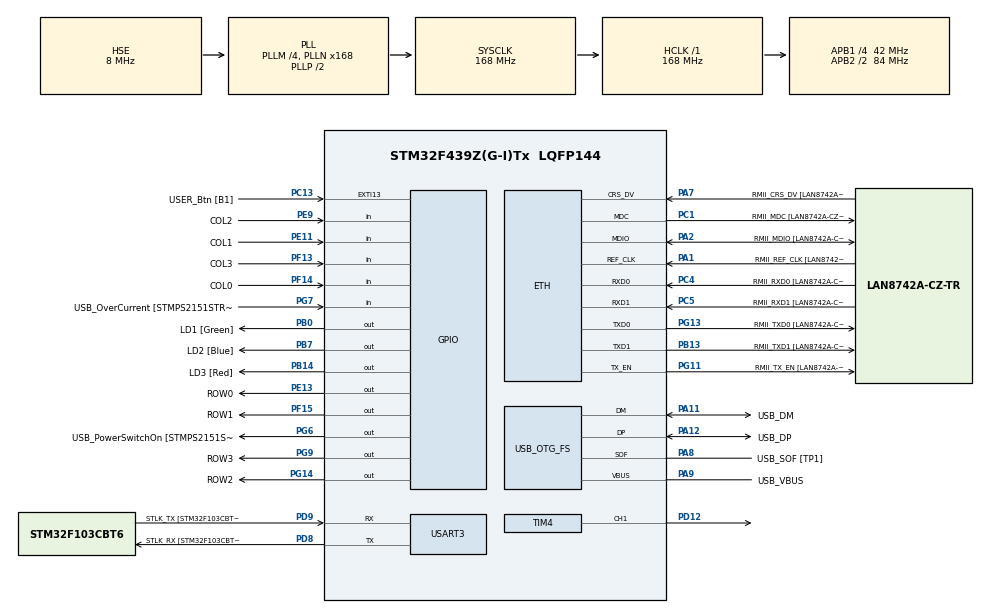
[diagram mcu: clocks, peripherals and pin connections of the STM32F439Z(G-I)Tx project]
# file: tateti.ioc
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Dma.Request0=TIM4_CH1
Dma.TIM4_CH1.0.Direction=DMA_MEMORY_TO_PERIPH
Dma.TIM4_CH1.0.FIFOMode=DMA_FIFOMODE_DISABLE
Dma.TIM4_CH1.0.Instance=DMA1_Stream0
Dma.TIM4_CH1.0.MemDataAlignment=DMA_MDATAALIGN_HALFWORD
Dma.TIM4_CH1.0.MemInc=DMA_MINC_ENABLE
Dma.TIM4_CH1.0.Mode=DMA_NORMAL
Dma.TIM4_CH1.0.PeriphDataAlignment=DMA_PDATAALIGN_HALFWORD
Dma.TIM4_CH1.0.PeriphInc=DMA_PINC_DISABLE
Dma.TIM4_CH1.0.Priority=DMA_PRIORITY_LOW
ETH.MediaInterface=HAL_ETH_RMII_MODE
ETH.PHY_Name=LAN8742A_PHY_ADDRESS
ETH.PHY_Value=0
ETH.PhyAddress=0
Mcu.Family=STM32F4
Mcu.Name=STM32F439Z(G-I)Tx
Mcu.Package=LQFP144
NVIC.DMA1_Stream0_IRQn=true\:0\:0\:false\:false\:true\:false\:true\:true
NVIC.PriorityGroup=NVIC_PRIORITYGROUP_4
NVIC.TIM6_DAC_IRQn=true\:0\:0\:false\:false\:true\:true\:true\:true
PA0/WKUP.Signal=S_TIM2_CH1_ETR
PA1.GPIO_Label=RMII_REF_CLK [LAN8742A-CZ-TR_REFCLK0]
PA1.Mode=RMII
PA1.Signal=ETH_REF_CLK
PA10.GPIO_Label=USB_ID
PA10.Signal=USB_OTG_FS_ID
PA11.GPIO_Label=USB_DM
PA11.Mode=Device_Only
PA11.Signal=USB_OTG_FS_DM
PA12.GPIO_Label=USB_DP
PA12.Mode=Device_Only
PA12.Signal=USB_OTG_FS_DP
PA13.GPIO_Label=TMS
PA13.Mode=Serial_Wire
PA13.Signal=SYS_JTMS-SWDIO
PA14.GPIO_Label=TCK
PA14.Mode=Serial_Wire
PA14.Signal=SYS_JTCK-SWCLK
PA2.GPIO_Label=RMII_MDIO [LAN8742A-CZ-TR_MDIO]
PA2.Mode=RMII
PA2.Signal=ETH_MDIO
PA7.GPIO_Label=RMII_CRS_DV [LAN8742A-CZ-TR_CRS_DV]
PA7.Mode=RMII
PA7.Signal=ETH_CRS_DV
PA8.GPIO_Label=USB_SOF [TP1]
PA8.Mode=Activate_SOF_FS
PA8.Signal=USB_OTG_FS_SOF
PA9.GPIO_Label=USB_VBUS
PA9.Mode=Activate_VBUS
PA9.Signal=USB_OTG_FS_VBUS
PB0.GPIO_Label=LD1 [Green]
PB0.Signal=GPIO_Output
PB13.GPIO_Label=RMII_TXD1 [LAN8742A-CZ-TR_TXD1]
PB13.Mode=RMII
PB13.Signal=ETH_TXD1
PB14.GPIO_Label=LD3 [Red]
PB14.Signal=GPIO_Output
PB7.GPIO_Label=LD2 [Blue]
PB7.Signal=GPIO_Output
PC1.GPIO_Label=RMII_MDC [LAN8742A-CZ-TR_MDC]
PC1.Mode=RMII
PC1.Signal=ETH_MDC
PC13.GPIO_Label=USER_Btn [B1]
PC13.Signal=GPXTI13
PC14/OSC32_IN.Mode=LSE-External-Oscillator
PC14/OSC32_IN.Signal=RCC_OSC32_IN
PC15/OSC32_OUT.Mode=LSE-External-Oscillator
PC15/OSC32_OUT.Signal=RCC_OSC32_OUT
PC4.GPIO_Label=RMII_RXD0 [LAN8742A-CZ-TR_RXD0]
PC4.Mode=RMII
PC4.Signal=ETH_RXD0
PC5.GPIO_Label=RMII_RXD1 [LAN8742A-CZ-TR_RXD1]
PC5.Mode=RMII
PC5.Signal=ETH_RXD1
PD12.GPIO_Speed=GPIO_SPEED_FREQ_VERY_HIGH
PD12.Signal=S_TIM4_CH1
PD8.GPIO_Label=STLK_RX [STM32F103CBT6_PA3]
PD8.Mode=Asynchronous
PD8.Signal=USART3_TX
PD9.GPIO_Label=STLK_TX [STM32F103CBT6_PA2]
PD9.Mode=Asynchronous
PD9.Signal=USART3_RX
PE11.GPIO_Label=COL1
PE11.Signal=GPIO_Input
PE13.GPIO_Label=ROW0
PE13.Signal=GPIO_Output
PE9.GPIO_Label=COL2
PE9.Signal=GPIO_Input
PF13.GPIO_Label=COL3
PF13.Signal=GPIO_Input
PF14.GPIO_Label=COL0
PF14.Signal=GPIO_Input
PF15.GPIO_Label=ROW1
PF15.Signal=GPIO_Output
PG11.GPIO_Label=RMII_TX_EN [LAN8742A-CZ-TR_TXEN]
PG11.Mode=RMII
PG11.Signal=ETH_TX_EN
PG13.GPIO_Label=RMII_TXD0 [LAN8742A-CZ-TR_TXD0]
PG13.Mode=RMII
PG13.Signal=ETH_TXD0
PG14.GPIO_Label=ROW2
PG14.Signal=GPIO_Output
PG6.GPIO_Label=USB_PowerSwitchOn [STMPS2151STR_EN]
PG6.Signal=GPIO_Output
PG7.GPIO_Label=USB_OverCurrent [STMPS2151STR_FAULT]
PG7.Signal=GPIO_Input
PG9.GPIO_Label=ROW3
PG9.Signal=GPIO_Output
PH0/OSC_IN.GPIO_Label=MCO [STM32F103CBT6_PA8]
PH0/OSC_IN.Mode=HSE-External-Clock-Source
PH0/OSC_IN.Signal=RCC_OSC_IN
PH1/OSC_OUT.Mode=HSE-External-Clock-Source
PH1/OSC_OUT.Signal=RCC_OSC_OUT
ProjectManager.HeapSize=0x200
ProjectManager.StackSize=0x400
ProjectManager.TargetToolchain=STM32CubeIDE
RCC.48MHZClocksFreq_Value=48000000
RCC.AHBFreq_Value=168000000
RCC.APB1CLKDivider=RCC_HCLK_DIV4
RCC.APB1Freq_Value=42000000
RCC.APB1TimFreq_Value=84000000
RCC.APB2CLKDivider=RCC_HCLK_DIV2
RCC.APB2Freq_Value=84000000
RCC.APB2TimCLKDivider=2
RCC.APB2TimFreq_Value=168000000
RCC.CortexFreq_Value=168000000
RCC.HCLKFreq_Value=168000000
RCC.HSE_VALUE=8000000
RCC.HSI_VALUE=16000000
RCC.PLLM=4
RCC.PLLMUL=RCC_PLL_MUL9
RCC.PLLN=168
RCC.PLLQ=7
RCC.PRESCALERUSB=RCC_USBCLKSOURCE_PLL_DIV1_5
RCC.SYSCLKFreq_VALUE=168000000
RCC.SYSCLKSource=RCC_SYSCLKSOURCE_PLLCLK
RCC.SYSCLKSourceVirtual=RCC_SYSCLKSOURCE_PLLCLK
RCC.USBFreq_Value=48000000
RCC.VCOOutputFreq_Value=336000000
SH.S_TIM2_CH1_ETR.0=TIM2_CH1
SH.S_TIM4_CH1.0=TIM4_CH1,PWM Generation1 CH1
TIM4.Channel-PWM\ Generation1\ CH1=TIM_CHANNEL_1
TIM4.Period=125-1
TIM6.Period=9
TIM6.Prescaler=8399
USART3.VirtualMode=VM_ASYNC
USB_OTG_FS.VirtualMode=Device_Only
VP_TIM6_VS_ClockSourceINT.Mode=Enable_Timer
board=NUCLEO-F439ZI

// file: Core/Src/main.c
/* USER CODE BEGIN Header */
/**
  ******************************************************************************
  * @file           : main.c
  * @brief          : Main program body
  ******************************************************************************
  * @attention
  *
  * Copyright (c) 2025 STMicroelectronics.
  * All rights reserved.
  *
  * This software is licensed under terms that can be found in the LICENSE file
  * in the root directory of this software component.
  * If no LICENSE file comes with this software, it is provided AS-IS.
  *
  ******************************************************************************
  */
/* USER CODE END Header */
#include "main.h"
#include "dma.h"
#include "eth.h"
#include "tim.h"
#include "usart.h"
#include "usb_otg.h"
#include "gpio.h"

/* USER CODE BEGIN Includes */
#include "tateti.h"
#include "game_logic.h"
#include "display.h"
#include "ws2812b.h"
#include "keyboard.h"
#include "game_input.h"
#include "color_manager.h"
#include "ai.h"
/* USER CODE END Includes */

/* USER CODE BEGIN PV */
static Tateti statechart_handle;
static uint8_t game_mode = 0;  // 0=PvP, 1=PvIA

// Getter para game_mode
uint8_t GetGameMode(void) {
    return game_mode;
}
/* USER CODE END PV */

void SystemClock_Config(void);

int main(void)
{

  /* MCU Configuration--------------------------------------------------------*/

  /* Reset of all peripherals, Initializes the Flash interface and the Systick. */
  HAL_Init();

  /* Configure the system clock */
  SystemClock_Config();

  /* Initialize all configured peripherals */
  MX_GPIO_Init();
  MX_DMA_Init();
  MX_ETH_Init();
  MX_USART3_UART_Init();
  MX_USB_OTG_FS_PCD_Init();
  MX_TIM6_Init();
  MX_TIM4_Init();
  /* USER CODE BEGIN 2 */
  // Inicializar módulos
  Display_Init();
  Keyboard_Init();
  ColorManager_Init();

  // Inicializar y activar statechart
  tateti_init(&statechart_handle);
  tateti_enter(&statechart_handle);

  // Iniciar timer para teclado
  HAL_TIM_Base_Start_IT(&htim6);
  /* USER CODE END 2 */

  /* Infinite loop */
  while (1)
  {

    /* USER CODE BEGIN 3 */
    // Procesar completion transitions (sin evento)
    // Esto permite que estados como Check_win y Match_end fluyan automáticamente
    tateti_trigger_without_event(&statechart_handle);

    // Verificar si hay tecla presionada
    if (Keyboard_HasKey()) {
        Keyboard_Key_t key = Keyboard_GetKey();

        // Si estamos en IDLE, procesar teclas especiales
        if (tateti_is_state_active(&statechart_handle, Tateti_main_region_Idle)) {
            if (key == KEY_P11) {
                // P11: Toggle modo de juego (PvP ↔ PvIA)
                game_mode = !game_mode;
                Display_ShowGameMode(game_mode);

                // Mostrar nivel de dificultad si se activa modo IA
                if (game_mode == 1) {
                    Display_ShowAIDifficulty(AI_GetDifficulty());
                }

                HAL_Delay(500);
                Display_ShowColorSelection();
            } else if (key == KEY_P0 && game_mode == 1) {
                // P0: Dificultad Fácil (solo en modo IA) - Verde en esquinas
                AI_SetDifficulty(AI_EASY);
                Display_ShowAIDifficulty(AI_EASY);
                HAL_Delay(500);
                Display_ShowColorSelection();
            } else if (key == KEY_P1 && game_mode == 1) {
                // P1: Dificultad Media (solo en modo IA) - Naranja en esquinas
                AI_SetDifficulty(AI_MEDIUM);
                Display_ShowAIDifficulty(AI_MEDIUM);
                HAL_Delay(500);
                Display_ShowColorSelection();
            } else if (key == KEY_P2 && game_mode == 1) {
                // P2: Dificultad Difícil (solo en modo IA) - Rojo en esquinas
                AI_SetDifficulty(AI_HARD);
                Display_ShowAIDifficulty(AI_HARD);
                HAL_Delay(500);
                Display_ShowColorSelection();
            } else {
                // Otras teclas: enviar al statechart
                tateti_raise_key_pressed(&statechart_handle, (sc_integer)key);
            }
        } else {
            // Fuera de IDLE: enviar evento al statechart
            tateti_raise_key_pressed(&statechart_handle, (sc_integer)key);
        }
    }

    // Si modo IA y es turno de P2 en estado PLAYING, generar movimiento
    if (game_mode == 1 &&
        tateti_is_state_active(&statechart_handle, Tateti_main_region_Playing) &&
        tateti_get_current_player(&statechart_handle) == 2) {

        HAL_Delay(500);  // Delay para simular "pensamiento" de la IA
        Keyboard_Key_t ai_move = AI_CalculateMove();
        tateti_raise_key_pressed(&statechart_handle, (sc_integer)ai_move);
    }
  }
  /* USER CODE END 3 */
}

void HAL_TIM_PeriodElapsedCallback(TIM_HandleTypeDef *htim)
{
    if (htim->Instance == TIM6) {
        Keyboard_Update();
    }
}

void SystemClock_Config(void)
{
  RCC_OscInitTypeDef RCC_OscInitStruct = {0};
  RCC_ClkInitTypeDef RCC_ClkInitStruct = {0};

  /** Configure the main internal regulator output voltage
  */
  __HAL_RCC_PWR_CLK_ENABLE();
  __HAL_PWR_VOLTAGESCALING_CONFIG(PWR_REGULATOR_VOLTAGE_SCALE1);

  /** Initializes the RCC Oscillators according to the specified parameters
  * in the RCC_OscInitTypeDef structure.
  */
  RCC_OscInitStruct.OscillatorType = RCC_OSCILLATORTYPE_HSE;
  RCC_OscInitStruct.HSEState = RCC_HSE_BYPASS;
  RCC_OscInitStruct.PLL.PLLState = RCC_PLL_ON;
  RCC_OscInitStruct.PLL.PLLSource = RCC_PLLSOURCE_HSE;
  RCC_OscInitStruct.PLL.PLLM = 4;
  RCC_OscInitStruct.PLL.PLLN = 168;
  RCC_OscInitStruct.PLL.PLLP = RCC_PLLP_DIV2;
  RCC_OscInitStruct.PLL.PLLQ = 7;
  if (HAL_RCC_OscConfig(&RCC_OscInitStruct) != HAL_OK)
  {
    Error_Handler();
  }

  /** Initializes the CPU, AHB and APB buses clocks
  */
  RCC_ClkInitStruct.ClockType = RCC_CLOCKTYPE_HCLK|RCC_CLOCKTYPE_SYSCLK
                              |RCC_CLOCKTYPE_PCLK1|RCC_CLOCKTYPE_PCLK2;
  RCC_ClkInitStruct.SYSCLKSource = RCC_SYSCLKSOURCE_PLLCLK;
  RCC_ClkInitStruct.AHBCLKDivider = RCC_SYSCLK_DIV1;
  RCC_ClkInitStruct.APB1CLKDivider = RCC_HCLK_DIV4;
  RCC_ClkInitStruct.APB2CLKDivider = RCC_HCLK_DIV2;

  if (HAL_RCC_ClockConfig(&RCC_ClkInitStruct, FLASH_LATENCY_5) != HAL_OK)
  {
    Error_Handler();
  }
}

void Error_Handler(void)
{
  __disable_irq();
  while (1)
  {
  }
}
